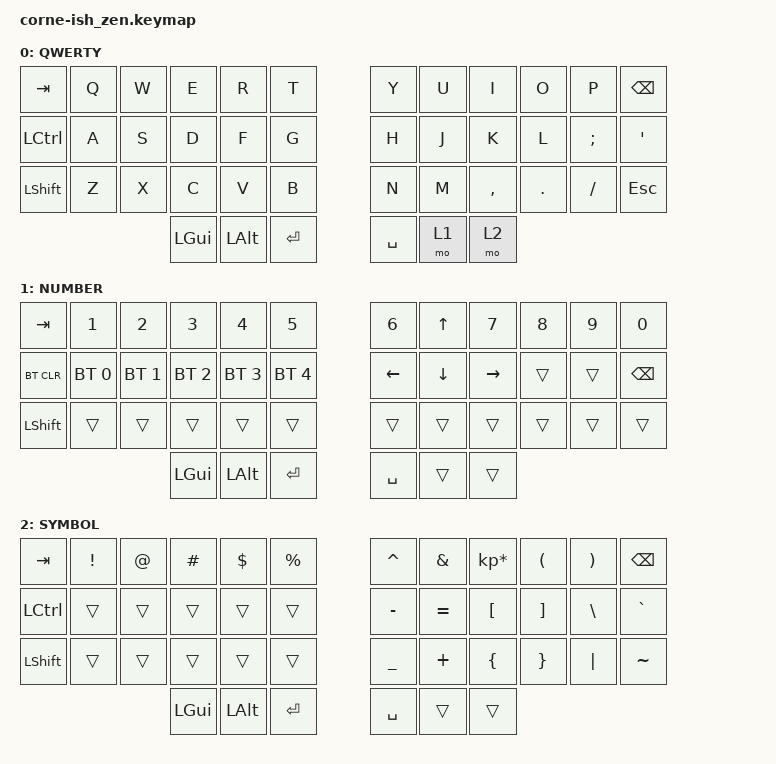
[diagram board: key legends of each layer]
/*
*
* Copyright (c) 2021 Darryl deHaan
* SPDX-License-Identifier: MIT
*
*/

#include <behaviors.dtsi>
#include <dt-bindings/zmk/keys.h>
#include <dt-bindings/zmk/bt.h>

/ {
        keymap {
                compatible = "zmk,keymap";

                default_layer {
                        label = "QWERTY";
// -----------------------------------------------------------------------------------------
// |  TAB |  Q  |  W  |  E  |  R  |  T  |   |  Y  |  U   |  I  |  O  |  P  | BKSP |
// | CTRL |  A  |  S  |  D  |  F  |  G  |   |  H  |  J   |  K  |  L  |  ;  |  '   |
// | SHFT |  Z  |  X  |  C  |  V  |  B  |   |  N  |  M   |  ,  |  .  |  /  | ESC  |
//                    | GUI | ALT | ENT |   | SPC | LWR  | RSE |
                        bindings = <
   &kp TAB   &kp Q &kp W &kp E &kp R &kp T   &kp Y &kp U  &kp I     &kp O   &kp P    &kp BSPC
   &kp LCTRL &kp A &kp S &kp D &kp F &kp G   &kp H &kp J  &kp K     &kp L   &kp SEMI &kp SQT
   &kp LSHFT &kp Z &kp X &kp C &kp V &kp B   &kp N &kp M  &kp COMMA &kp DOT &kp FSLH &kp ESC
                  &kp LGUI &kp LALT &kp RET   &kp SPACE &mo 1 &mo 2
                        >;
                };
                lower_layer {
                        label = "NUMBER";
// -----------------------------------------------------------------------------------------
// |  TAB |  1  |  2  |  3  |  4  |  5  |   |  6  |  UP |  7  |  8  |  9  |  0  | BKSP |
// | BTCLR| BT1 | BT2 | BT3 | BT4 | BT5 |   | LFT | DWN | RGT |     |     |      |
// | SHFT |     |     |     |     |     |   |     |     |     |     |     |      |
//                    | GUI | ALT | ENT |   | SPC |     |     |
                        bindings = <
   &kp TAB    &kp N1       &kp N2       &kp N3       &kp N4       &kp N5         &kp N6   &kp UP   &kp N7	&kp N8 &kp N9    &kp N0
   &bt BT_CLR &bt BT_SEL 0 &bt BT_SEL 1 &bt BT_SEL 2 &bt BT_SEL 3 &bt BT_SEL 4   &kp LEFT &kp DOWN &kp RIGHT &trans &trans &kp BSPC
   &kp LSHFT  &trans       &trans       &trans       &trans       &trans         &trans   &trans   &trans &trans    &trans &trans
                          	        &kp LGUI     &kp LALT	&kp RET      &kp SPACE  &trans   &trans
                        >;
                };

                raise_layer {
                        label = "SYMBOL";
// -----------------------------------------------------------------------------------------
// |  TAB |  !  |  @  |  #  |  $  |  %  |   |  ^  |  &  |  *  |  (  |  )  | BKSP |
// | CTRL |     |     |     |     |     |   |  -  |  =  |  [  |  ]  |  \  |  `   |
// | SHFT |     |     |     |     |     |   |  _  |  +  |  {  |  }  | "|" |  ~   |
//                    | GUI | ALT | ENT |   | SPC |     |     |
                        bindings = <
   &kp  TAB  &kp EXCL &kp AT &kp HASH &kp DLLR &kp PRCNT   &kp CARET &kp AMPS  &kp KP_MULTIPLY &kp LPAR &kp RPAR &kp BSPC
   &kp LCTRL &trans   &trans &trans   &trans   &trans      &kp MINUS &kp EQUAL &kp LBKT        &kp RBKT &kp BSLH &kp GRAVE
   &kp LSHFT &trans   &trans &trans   &trans   &trans      &kp UNDER &kp PLUS  &kp LBRC        &kp RBRC &kp PIPE &kp TILDE
                    	     &kp LGUI &kp LALT   &kp RET   &kp SPACE   &trans    &trans
                        >;
                };
        };
};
